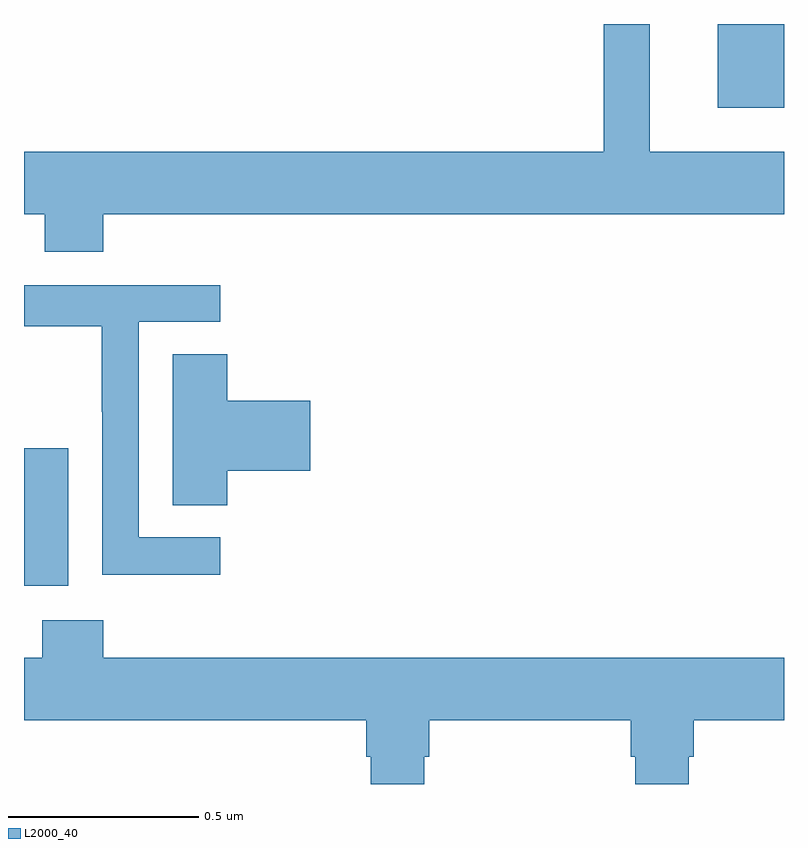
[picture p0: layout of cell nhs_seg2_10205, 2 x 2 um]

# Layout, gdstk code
import gdstk
lib = gdstk.Library(unit=1e-6, precision=1e-09)
def R(c, l, rs):  # rectangles x0, y0, x1, y1
    for r in rs: c.add(gdstk.rectangle(r[:2], r[2:], *l))
def P(c, l, *ps):  # polygons
    for p in ps: c.add(gdstk.Polygon(p, *l))
L2000_40 = (2000, 40)

nhs_seg2_10205 = lib.new_cell('nhs_seg2_10205')
R(nhs_seg2_10205, L2000_40, [(238,649.322,238.117,649.683), (239.825,650.579,240,650.8)])
P(nhs_seg2_10205, L2000_40, [(238.208,650.3),(240,650.3),(240,650.464),(239.647,650.464),(239.647,650.8),(239.526,650.8),(239.526,650.464),(238,650.464),(238,650.3),(238.055,650.3),(238.055,650.201),(238.208,650.201)],
  [(238.516,649.449),(238.302,649.449),(238.302,650.016),(238.516,650.016),(238.516,650.112),(238,650.112),(238,650.004),(238.204,650.004),(238.204,649.78),(238.206,649.78),(238.206,649.351),(238.516,649.351)],
  [(238.535,649.625),(238.753,649.625),(238.753,649.808),(238.535,649.808),(238.535,649.931),(238.391,649.931),(238.391,649.534),(238.535,649.534)],
  [(239.053,648.872),(239.066,648.872),(239.066,648.968),(239.597,648.968),(239.597,648.872),(239.609,648.872),(239.609,648.8),(239.749,648.8),(239.749,648.872),(239.762,648.872),(239.762,648.968),(240,648.968),(240,649.132),(238.208,649.132),(238.208,649.231),(238.048,649.231),(238.048,649.132),(238,649.132),(238,648.968),(238.901,648.968),(238.901,648.872),(238.913,648.872),(238.913,648.8),(239.053,648.8)])

lib.write_gds('nhs_seg2_10205.gds')
